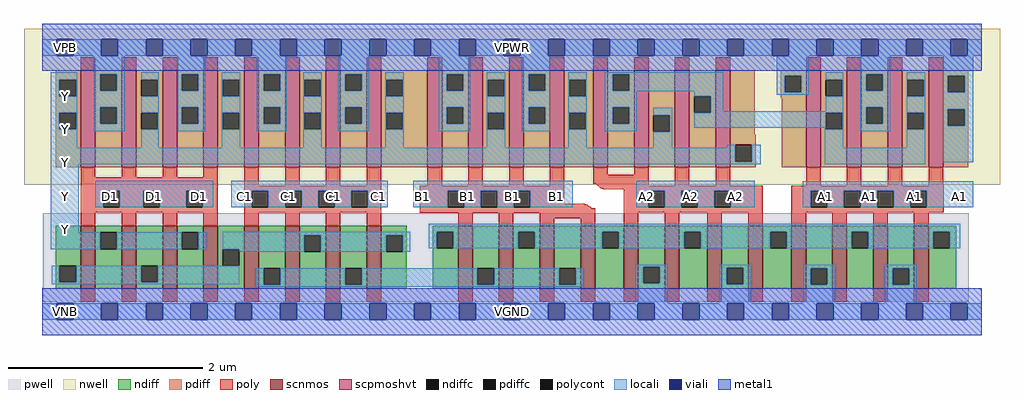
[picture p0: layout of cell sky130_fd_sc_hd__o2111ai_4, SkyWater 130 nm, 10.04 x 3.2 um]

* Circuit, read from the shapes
.subckt sky130_fd_sc_hd__o2111ai_4 A1 A2 B1 C1 D1 VGND VNB VPB VPWR Y
XM1 Y D1 n1 VNB sky130_fd_pr__nfet_01v8 w=0.65 l=0.15 m=4
XM2 n2 C1 n1 VNB sky130_fd_pr__nfet_01v8 w=0.65 l=0.15 m=4
XM3 n2 B1 n3 VNB sky130_fd_pr__nfet_01v8 w=0.65 l=0.15 m=4
XM4 VGND A2 n3 VNB sky130_fd_pr__nfet_01v8 w=0.65 l=0.15 m=4
XM5 VGND A1 n3 VNB sky130_fd_pr__nfet_01v8 w=0.65 l=0.15 m=4
XM6 VPWR D1 Y VPB sky130_fd_pr__pfet_01v8_hvt w=1 l=0.15 m=4
XM7 VPWR C1 Y VPB sky130_fd_pr__pfet_01v8_hvt w=1 l=0.15 m=4
XM8 VPWR B1 Y VPB sky130_fd_pr__pfet_01v8_hvt w=1 l=0.15 m=4
XM9 n4 A2 Y VPB sky130_fd_pr__pfet_01v8_hvt w=1 l=0.15 m=4
XM10 n4 A1 VPWR VPB sky130_fd_pr__pfet_01v8_hvt w=1 l=0.15 m=4
.ends

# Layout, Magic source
magic
tech sky130A
magscale 1 2
<< nwell >>
rect -38 261 1970 582
<< pwell >>
rect 1 21 1906 203
rect 30 -17 64 21
<< scnmos >>
rect 79 47 109 177
rect 163 47 193 177
rect 247 47 277 177
rect 331 47 361 177
rect 415 47 445 177
rect 499 47 529 177
rect 583 47 613 177
rect 667 47 697 177
rect 855 47 885 177
rect 939 47 969 177
rect 1023 47 1053 177
rect 1107 47 1137 177
rect 1196 47 1226 177
rect 1280 47 1310 177
rect 1368 47 1398 177
rect 1452 47 1482 177
rect 1541 47 1571 177
rect 1625 47 1655 177
rect 1709 47 1739 177
rect 1793 47 1823 177
<< scpmoshvt >>
rect 79 297 109 497
rect 163 297 193 497
rect 247 297 277 497
rect 331 297 361 497
rect 415 297 445 497
rect 499 297 529 497
rect 583 297 613 497
rect 667 297 697 497
rect 792 297 822 497
rect 876 297 906 497
rect 960 297 990 497
rect 1044 297 1074 497
rect 1133 297 1163 497
rect 1217 297 1247 497
rect 1301 297 1331 497
rect 1385 297 1415 497
rect 1571 297 1601 497
rect 1655 297 1685 497
rect 1739 297 1769 497
rect 1823 297 1853 497
<< ndiff >>
rect 27 95 79 177
rect 27 61 35 95
rect 69 61 79 95
rect 27 47 79 61
rect 109 163 163 177
rect 109 129 119 163
rect 153 129 163 163
rect 109 47 163 129
rect 193 95 247 177
rect 193 61 203 95
rect 237 61 247 95
rect 193 47 247 61
rect 277 163 331 177
rect 277 129 287 163
rect 321 129 331 163
rect 277 47 331 129
rect 361 129 415 177
rect 361 95 371 129
rect 405 95 415 129
rect 361 47 415 95
rect 445 89 499 177
rect 445 55 455 89
rect 489 55 499 89
rect 445 47 499 55
rect 529 157 583 177
rect 529 123 539 157
rect 573 123 583 157
rect 529 47 583 123
rect 613 89 667 177
rect 613 55 623 89
rect 657 55 667 89
rect 613 47 667 55
rect 697 157 749 177
rect 697 123 707 157
rect 741 123 749 157
rect 697 47 749 123
rect 803 165 855 177
rect 803 131 811 165
rect 845 131 855 165
rect 803 47 855 131
rect 885 89 939 177
rect 885 55 895 89
rect 929 55 939 89
rect 885 47 939 55
rect 969 165 1023 177
rect 969 131 979 165
rect 1013 131 1023 165
rect 969 47 1023 131
rect 1053 89 1107 177
rect 1053 55 1063 89
rect 1097 55 1107 89
rect 1053 47 1107 55
rect 1137 165 1196 177
rect 1137 131 1152 165
rect 1186 131 1196 165
rect 1137 47 1196 131
rect 1226 93 1280 177
rect 1226 59 1236 93
rect 1270 59 1280 93
rect 1226 47 1280 59
rect 1310 165 1368 177
rect 1310 131 1320 165
rect 1354 131 1368 165
rect 1310 47 1368 131
rect 1398 90 1452 177
rect 1398 56 1408 90
rect 1442 56 1452 90
rect 1398 47 1452 56
rect 1482 165 1541 177
rect 1482 131 1497 165
rect 1531 131 1541 165
rect 1482 47 1541 131
rect 1571 89 1625 177
rect 1571 55 1581 89
rect 1615 55 1625 89
rect 1571 47 1625 55
rect 1655 165 1709 177
rect 1655 131 1665 165
rect 1699 131 1709 165
rect 1655 47 1709 131
rect 1739 89 1793 177
rect 1739 55 1749 89
rect 1783 55 1793 89
rect 1739 47 1793 55
rect 1823 165 1880 177
rect 1823 131 1833 165
rect 1867 131 1880 165
rect 1823 47 1880 131
<< pdiff >>
rect 27 477 79 497
rect 27 443 35 477
rect 69 443 79 477
rect 27 409 79 443
rect 27 375 35 409
rect 69 375 79 409
rect 27 297 79 375
rect 109 489 163 497
rect 109 455 119 489
rect 153 455 163 489
rect 109 421 163 455
rect 109 387 119 421
rect 153 387 163 421
rect 109 297 163 387
rect 193 477 247 497
rect 193 443 203 477
rect 237 443 247 477
rect 193 409 247 443
rect 193 375 203 409
rect 237 375 247 409
rect 193 297 247 375
rect 277 489 331 497
rect 277 455 287 489
rect 321 455 331 489
rect 277 421 331 455
rect 277 387 287 421
rect 321 387 331 421
rect 277 297 331 387
rect 361 477 415 497
rect 361 443 371 477
rect 405 443 415 477
rect 361 409 415 443
rect 361 375 371 409
rect 405 375 415 409
rect 361 297 415 375
rect 445 489 499 497
rect 445 455 455 489
rect 489 455 499 489
rect 445 421 499 455
rect 445 387 455 421
rect 489 387 499 421
rect 445 297 499 387
rect 529 477 583 497
rect 529 443 539 477
rect 573 443 583 477
rect 529 409 583 443
rect 529 375 539 409
rect 573 375 583 409
rect 529 297 583 375
rect 613 489 667 497
rect 613 455 623 489
rect 657 455 667 489
rect 613 421 667 455
rect 613 387 623 421
rect 657 387 667 421
rect 613 297 667 387
rect 697 477 792 497
rect 697 443 707 477
rect 741 443 792 477
rect 697 409 792 443
rect 697 375 707 409
rect 741 375 792 409
rect 697 297 792 375
rect 822 489 876 497
rect 822 455 832 489
rect 866 455 876 489
rect 822 421 876 455
rect 822 387 832 421
rect 866 387 876 421
rect 822 297 876 387
rect 906 477 960 497
rect 906 443 916 477
rect 950 443 960 477
rect 906 409 960 443
rect 906 375 916 409
rect 950 375 960 409
rect 906 297 960 375
rect 990 489 1044 497
rect 990 455 1000 489
rect 1034 455 1044 489
rect 990 421 1044 455
rect 990 387 1000 421
rect 1034 387 1044 421
rect 990 297 1044 387
rect 1074 477 1133 497
rect 1074 443 1084 477
rect 1118 443 1133 477
rect 1074 409 1133 443
rect 1074 375 1084 409
rect 1118 375 1133 409
rect 1074 297 1133 375
rect 1163 489 1217 497
rect 1163 455 1173 489
rect 1207 455 1217 489
rect 1163 421 1217 455
rect 1163 387 1173 421
rect 1207 387 1217 421
rect 1163 297 1217 387
rect 1247 404 1301 497
rect 1247 370 1257 404
rect 1291 370 1301 404
rect 1247 297 1301 370
rect 1331 443 1385 497
rect 1331 409 1341 443
rect 1375 409 1385 443
rect 1331 297 1385 409
rect 1415 364 1465 497
rect 1519 485 1571 497
rect 1519 451 1527 485
rect 1561 451 1571 485
rect 1519 440 1571 451
rect 1415 343 1467 364
rect 1415 309 1425 343
rect 1459 309 1467 343
rect 1415 297 1467 309
rect 1521 297 1571 440
rect 1601 477 1655 497
rect 1601 443 1611 477
rect 1645 443 1655 477
rect 1601 409 1655 443
rect 1601 375 1611 409
rect 1645 375 1655 409
rect 1601 297 1655 375
rect 1685 489 1739 497
rect 1685 455 1695 489
rect 1729 455 1739 489
rect 1685 421 1739 455
rect 1685 387 1695 421
rect 1729 387 1739 421
rect 1685 297 1739 387
rect 1769 477 1823 497
rect 1769 443 1779 477
rect 1813 443 1823 477
rect 1769 409 1823 443
rect 1769 375 1779 409
rect 1813 375 1823 409
rect 1769 297 1823 375
rect 1853 485 1905 497
rect 1853 451 1863 485
rect 1897 451 1905 485
rect 1853 417 1905 451
rect 1853 383 1863 417
rect 1897 383 1905 417
rect 1853 297 1905 383
<< ndiffc >>
rect 35 61 69 95
rect 119 129 153 163
rect 203 61 237 95
rect 287 129 321 163
rect 371 95 405 129
rect 455 55 489 89
rect 539 123 573 157
rect 623 55 657 89
rect 707 123 741 157
rect 811 131 845 165
rect 895 55 929 89
rect 979 131 1013 165
rect 1063 55 1097 89
rect 1152 131 1186 165
rect 1236 59 1270 93
rect 1320 131 1354 165
rect 1408 56 1442 90
rect 1497 131 1531 165
rect 1581 55 1615 89
rect 1665 131 1699 165
rect 1749 55 1783 89
rect 1833 131 1867 165
<< pdiffc >>
rect 35 443 69 477
rect 35 375 69 409
rect 119 455 153 489
rect 119 387 153 421
rect 203 443 237 477
rect 203 375 237 409
rect 287 455 321 489
rect 287 387 321 421
rect 371 443 405 477
rect 371 375 405 409
rect 455 455 489 489
rect 455 387 489 421
rect 539 443 573 477
rect 539 375 573 409
rect 623 455 657 489
rect 623 387 657 421
rect 707 443 741 477
rect 707 375 741 409
rect 832 455 866 489
rect 832 387 866 421
rect 916 443 950 477
rect 916 375 950 409
rect 1000 455 1034 489
rect 1000 387 1034 421
rect 1084 443 1118 477
rect 1084 375 1118 409
rect 1173 455 1207 489
rect 1173 387 1207 421
rect 1257 370 1291 404
rect 1341 409 1375 443
rect 1527 451 1561 485
rect 1425 309 1459 343
rect 1611 443 1645 477
rect 1611 375 1645 409
rect 1695 455 1729 489
rect 1695 387 1729 421
rect 1779 443 1813 477
rect 1779 375 1813 409
rect 1863 451 1897 485
rect 1863 383 1897 417
<< poly >>
rect 79 497 109 523
rect 163 497 193 523
rect 247 497 277 523
rect 331 497 361 523
rect 415 497 445 523
rect 499 497 529 523
rect 583 497 613 523
rect 667 497 697 523
rect 792 497 822 523
rect 876 497 906 523
rect 960 497 990 523
rect 1044 497 1074 523
rect 1133 497 1163 523
rect 1217 497 1247 523
rect 1301 497 1331 523
rect 1385 497 1415 523
rect 1571 497 1601 523
rect 1655 497 1685 523
rect 1739 497 1769 523
rect 1823 497 1853 523
rect 79 277 109 297
rect 163 277 193 297
rect 247 277 277 297
rect 331 277 361 297
rect 79 249 361 277
rect 79 215 125 249
rect 159 215 207 249
rect 241 215 296 249
rect 330 215 361 249
rect 79 205 361 215
rect 79 177 109 205
rect 163 177 193 205
rect 247 177 277 205
rect 331 177 361 205
rect 415 259 445 297
rect 499 259 529 297
rect 583 259 613 297
rect 667 259 697 297
rect 792 259 822 297
rect 876 259 906 297
rect 960 259 990 297
rect 1044 259 1074 297
rect 1133 282 1163 297
rect 1217 282 1247 297
rect 1133 263 1247 282
rect 1139 262 1247 263
rect 1140 261 1247 262
rect 1141 260 1247 261
rect 1142 259 1247 260
rect 1301 259 1331 297
rect 1385 259 1415 297
rect 1571 259 1601 297
rect 1655 259 1685 297
rect 1739 259 1769 297
rect 1823 259 1853 297
rect 415 249 697 259
rect 415 215 431 249
rect 465 215 499 249
rect 533 215 567 249
rect 601 215 635 249
rect 669 215 697 249
rect 415 205 697 215
rect 415 177 445 205
rect 499 177 529 205
rect 583 177 613 205
rect 667 177 697 205
rect 776 249 1074 259
rect 1143 258 1482 259
rect 1145 257 1482 258
rect 1146 256 1482 257
rect 1148 255 1482 256
rect 1149 254 1482 255
rect 1152 253 1482 254
rect 1155 252 1482 253
rect 776 215 834 249
rect 868 215 902 249
rect 936 215 970 249
rect 1004 222 1074 249
rect 1196 249 1482 252
rect 1004 221 1115 222
rect 1004 220 1118 221
rect 1004 219 1121 220
rect 1004 218 1122 219
rect 1004 217 1124 218
rect 1004 216 1125 217
rect 1004 215 1127 216
rect 1196 215 1246 249
rect 1280 215 1314 249
rect 1348 215 1382 249
rect 1416 215 1482 249
rect 776 214 1128 215
rect 776 213 1129 214
rect 776 204 1137 213
rect 855 177 885 204
rect 939 177 969 204
rect 1023 192 1137 204
rect 1023 177 1053 192
rect 1107 177 1137 192
rect 1196 205 1482 215
rect 1196 177 1226 205
rect 1280 177 1310 205
rect 1368 177 1398 205
rect 1452 177 1482 205
rect 1541 249 1854 259
rect 1541 215 1581 249
rect 1615 215 1649 249
rect 1683 215 1717 249
rect 1751 215 1785 249
rect 1819 215 1854 249
rect 1541 205 1854 215
rect 1541 177 1571 205
rect 1625 177 1655 205
rect 1709 177 1739 205
rect 1793 177 1823 205
rect 79 21 109 47
rect 163 21 193 47
rect 247 21 277 47
rect 331 21 361 47
rect 415 21 445 47
rect 499 21 529 47
rect 583 21 613 47
rect 667 21 697 47
rect 855 21 885 47
rect 939 21 969 47
rect 1023 21 1053 47
rect 1107 21 1137 47
rect 1196 21 1226 47
rect 1280 21 1310 47
rect 1368 21 1398 47
rect 1452 21 1482 47
rect 1541 21 1571 47
rect 1625 21 1655 47
rect 1709 21 1739 47
rect 1793 21 1823 47
<< polycont >>
rect 125 215 159 249
rect 207 215 241 249
rect 296 215 330 249
rect 431 215 465 249
rect 499 215 533 249
rect 567 215 601 249
rect 635 215 669 249
rect 834 215 868 249
rect 902 215 936 249
rect 970 215 1004 249
rect 1246 215 1280 249
rect 1314 215 1348 249
rect 1382 215 1416 249
rect 1581 215 1615 249
rect 1649 215 1683 249
rect 1717 215 1751 249
rect 1785 215 1819 249
<< locali >>
rect 0 527 29 561
rect 63 527 121 561
rect 155 527 213 561
rect 247 527 305 561
rect 339 527 397 561
rect 431 527 489 561
rect 523 527 581 561
rect 615 527 673 561
rect 707 527 765 561
rect 799 527 857 561
rect 891 527 949 561
rect 983 527 1041 561
rect 1075 527 1133 561
rect 1167 527 1225 561
rect 1259 527 1317 561
rect 1351 527 1409 561
rect 1443 527 1501 561
rect 1535 527 1593 561
rect 1627 527 1685 561
rect 1719 527 1777 561
rect 1811 527 1869 561
rect 1903 527 1932 561
rect 17 477 72 493
rect 17 443 35 477
rect 69 443 72 477
rect 17 409 72 443
rect 17 375 35 409
rect 69 375 72 409
rect 17 337 72 375
rect 106 489 169 527
rect 106 455 119 489
rect 153 455 169 489
rect 106 421 169 455
rect 106 387 119 421
rect 153 387 169 421
rect 106 371 169 387
rect 203 477 239 493
rect 237 443 239 477
rect 203 409 239 443
rect 237 375 239 409
rect 203 337 239 375
rect 278 489 335 527
rect 278 455 287 489
rect 321 455 335 489
rect 278 421 335 455
rect 278 387 287 421
rect 321 387 335 421
rect 278 371 335 387
rect 369 477 407 493
rect 369 443 371 477
rect 405 443 407 477
rect 369 409 407 443
rect 369 375 371 409
rect 405 375 407 409
rect 369 337 407 375
rect 441 489 503 527
rect 441 455 455 489
rect 489 455 503 489
rect 441 421 503 455
rect 441 387 455 421
rect 489 387 503 421
rect 441 371 503 387
rect 537 477 575 493
rect 537 443 539 477
rect 573 443 575 477
rect 537 409 575 443
rect 537 375 539 409
rect 573 375 575 409
rect 537 337 575 375
rect 609 489 671 527
rect 609 455 623 489
rect 657 455 671 489
rect 609 421 671 455
rect 609 387 623 421
rect 657 387 671 421
rect 609 371 671 387
rect 705 477 743 493
rect 705 443 707 477
rect 741 443 743 477
rect 705 409 743 443
rect 705 375 707 409
rect 741 375 743 409
rect 705 337 743 375
rect 815 489 880 527
rect 815 455 832 489
rect 866 455 880 489
rect 815 421 880 455
rect 815 387 832 421
rect 866 387 880 421
rect 815 371 880 387
rect 914 477 952 493
rect 914 443 916 477
rect 950 443 952 477
rect 914 409 952 443
rect 914 375 916 409
rect 950 375 952 409
rect 914 337 952 375
rect 986 489 1044 527
rect 986 455 1000 489
rect 1034 455 1044 489
rect 986 421 1044 455
rect 986 387 1000 421
rect 1034 387 1044 421
rect 986 371 1044 387
rect 1082 477 1120 493
rect 1082 443 1084 477
rect 1118 443 1120 477
rect 1082 409 1120 443
rect 1082 375 1084 409
rect 1118 375 1120 409
rect 1082 337 1120 375
rect 1157 489 1401 493
rect 1157 455 1173 489
rect 1207 455 1401 489
rect 1157 454 1401 455
rect 1157 421 1223 454
rect 1157 387 1173 421
rect 1207 387 1223 421
rect 1341 443 1401 454
rect 1511 485 1577 527
rect 1511 451 1527 485
rect 1561 451 1577 485
rect 1511 446 1577 451
rect 1611 477 1647 493
rect 1157 371 1223 387
rect 1257 404 1296 420
rect 1291 370 1296 404
rect 1375 412 1401 443
rect 1645 443 1647 477
rect 1611 412 1647 443
rect 1375 409 1647 412
rect 1341 378 1611 409
rect 1257 337 1296 370
rect 1609 375 1611 378
rect 1645 375 1647 409
rect 1409 343 1478 344
rect 1409 337 1425 343
rect 17 309 1425 337
rect 1459 309 1478 343
rect 17 303 1478 309
rect 1609 337 1647 375
rect 1682 489 1744 527
rect 1682 455 1695 489
rect 1729 455 1744 489
rect 1682 421 1744 455
rect 1682 387 1695 421
rect 1729 387 1744 421
rect 1682 371 1744 387
rect 1778 477 1816 493
rect 1778 443 1779 477
rect 1813 443 1816 477
rect 1778 409 1816 443
rect 1778 375 1779 409
rect 1813 375 1816 409
rect 1778 337 1816 375
rect 1609 303 1816 337
rect 1853 485 1915 527
rect 1853 451 1863 485
rect 1897 451 1915 485
rect 1853 417 1915 451
rect 1853 383 1863 417
rect 1897 383 1915 417
rect 1853 307 1915 383
rect 17 163 75 303
rect 109 249 351 269
rect 109 215 125 249
rect 159 215 207 249
rect 241 215 296 249
rect 330 215 351 249
rect 388 249 710 269
rect 388 215 431 249
rect 465 215 499 249
rect 533 215 567 249
rect 601 215 635 249
rect 669 215 710 249
rect 763 249 1091 269
rect 763 215 834 249
rect 868 215 902 249
rect 936 215 970 249
rect 1004 215 1091 249
rect 1222 249 1465 269
rect 1222 215 1246 249
rect 1280 215 1314 249
rect 1348 215 1382 249
rect 1416 215 1465 249
rect 1564 249 1915 268
rect 1564 215 1581 249
rect 1615 215 1649 249
rect 1683 215 1717 249
rect 1751 215 1785 249
rect 1819 215 1915 249
rect 795 165 1888 181
rect 17 129 119 163
rect 153 129 287 163
rect 321 129 337 163
rect 371 157 757 165
rect 371 129 539 157
rect 405 123 539 129
rect 573 123 707 157
rect 741 123 757 157
rect 795 131 811 165
rect 845 131 979 165
rect 1013 131 1152 165
rect 1186 131 1320 165
rect 1354 131 1497 165
rect 1531 131 1665 165
rect 1699 131 1833 165
rect 1867 131 1888 165
rect 19 61 35 95
rect 69 61 203 95
rect 237 61 405 95
rect 1220 93 1286 97
rect 19 57 405 61
rect 439 55 455 89
rect 489 55 623 89
rect 657 55 895 89
rect 929 55 1063 89
rect 1097 55 1113 89
rect 439 51 1113 55
rect 1220 59 1236 93
rect 1270 59 1286 93
rect 1220 17 1286 59
rect 1392 90 1458 97
rect 1392 56 1408 90
rect 1442 56 1458 90
rect 1392 17 1458 56
rect 1565 89 1631 97
rect 1565 55 1581 89
rect 1615 55 1631 89
rect 1565 17 1631 55
rect 1733 89 1799 97
rect 1733 55 1749 89
rect 1783 55 1799 89
rect 1733 17 1799 55
rect 0 -17 29 17
rect 63 -17 121 17
rect 155 -17 213 17
rect 247 -17 305 17
rect 339 -17 397 17
rect 431 -17 489 17
rect 523 -17 581 17
rect 615 -17 673 17
rect 707 -17 765 17
rect 799 -17 857 17
rect 891 -17 949 17
rect 983 -17 1041 17
rect 1075 -17 1133 17
rect 1167 -17 1225 17
rect 1259 -17 1317 17
rect 1351 -17 1409 17
rect 1443 -17 1501 17
rect 1535 -17 1593 17
rect 1627 -17 1685 17
rect 1719 -17 1777 17
rect 1811 -17 1869 17
rect 1903 -17 1932 17
<< viali >>
rect 29 527 63 561
rect 121 527 155 561
rect 213 527 247 561
rect 305 527 339 561
rect 397 527 431 561
rect 489 527 523 561
rect 581 527 615 561
rect 673 527 707 561
rect 765 527 799 561
rect 857 527 891 561
rect 949 527 983 561
rect 1041 527 1075 561
rect 1133 527 1167 561
rect 1225 527 1259 561
rect 1317 527 1351 561
rect 1409 527 1443 561
rect 1501 527 1535 561
rect 1593 527 1627 561
rect 1685 527 1719 561
rect 1777 527 1811 561
rect 1869 527 1903 561
rect 29 -17 63 17
rect 121 -17 155 17
rect 213 -17 247 17
rect 305 -17 339 17
rect 397 -17 431 17
rect 489 -17 523 17
rect 581 -17 615 17
rect 673 -17 707 17
rect 765 -17 799 17
rect 857 -17 891 17
rect 949 -17 983 17
rect 1041 -17 1075 17
rect 1133 -17 1167 17
rect 1225 -17 1259 17
rect 1317 -17 1351 17
rect 1409 -17 1443 17
rect 1501 -17 1535 17
rect 1593 -17 1627 17
rect 1685 -17 1719 17
rect 1777 -17 1811 17
rect 1869 -17 1903 17
<< metal1 >>
rect 0 561 1932 592
rect 0 527 29 561
rect 63 527 121 561
rect 155 527 213 561
rect 247 527 305 561
rect 339 527 397 561
rect 431 527 489 561
rect 523 527 581 561
rect 615 527 673 561
rect 707 527 765 561
rect 799 527 857 561
rect 891 527 949 561
rect 983 527 1041 561
rect 1075 527 1133 561
rect 1167 527 1225 561
rect 1259 527 1317 561
rect 1351 527 1409 561
rect 1443 527 1501 561
rect 1535 527 1593 561
rect 1627 527 1685 561
rect 1719 527 1777 561
rect 1811 527 1869 561
rect 1903 527 1932 561
rect 0 496 1932 527
rect 0 17 1932 48
rect 0 -17 29 17
rect 63 -17 121 17
rect 155 -17 213 17
rect 247 -17 305 17
rect 339 -17 397 17
rect 431 -17 489 17
rect 523 -17 581 17
rect 615 -17 673 17
rect 707 -17 765 17
rect 799 -17 857 17
rect 891 -17 949 17
rect 983 -17 1041 17
rect 1075 -17 1133 17
rect 1167 -17 1225 17
rect 1259 -17 1317 17
rect 1351 -17 1409 17
rect 1443 -17 1501 17
rect 1535 -17 1593 17
rect 1627 -17 1685 17
rect 1719 -17 1777 17
rect 1811 -17 1869 17
rect 1903 -17 1932 17
rect 0 -48 1932 -17
<< labels >>
flabel locali s 1869 221 1903 255 0 FreeSans 400 0 0 0 A1
port 1 nsew signal input
flabel locali s 1777 221 1811 255 0 FreeSans 400 0 0 0 A1
port 1 nsew signal input
flabel locali s 1685 221 1719 255 0 FreeSans 400 0 0 0 A1
port 1 nsew signal input
flabel locali s 1593 221 1627 255 0 FreeSans 400 0 0 0 A1
port 1 nsew signal input
flabel locali s 1409 221 1443 255 0 FreeSans 400 0 0 0 A2
port 2 nsew signal input
flabel locali s 1317 221 1351 255 0 FreeSans 400 0 0 0 A2
port 2 nsew signal input
flabel locali s 1225 221 1259 255 0 FreeSans 400 0 0 0 A2
port 2 nsew signal input
flabel locali s 1041 221 1075 255 0 FreeSans 400 0 0 0 B1
port 3 nsew signal input
flabel locali s 949 221 983 255 0 FreeSans 400 0 0 0 B1
port 3 nsew signal input
flabel locali s 857 221 891 255 0 FreeSans 400 0 0 0 B1
port 3 nsew signal input
flabel locali s 765 221 799 255 0 FreeSans 400 0 0 0 B1
port 3 nsew signal input
flabel locali s 674 221 708 255 0 FreeSans 400 0 0 0 C1
port 4 nsew signal input
flabel locali s 582 221 616 255 0 FreeSans 400 0 0 0 C1
port 4 nsew signal input
flabel locali s 490 221 524 255 0 FreeSans 400 0 0 0 C1
port 4 nsew signal input
flabel locali s 398 221 432 255 0 FreeSans 400 0 0 0 C1
port 4 nsew signal input
flabel locali s 306 221 340 255 0 FreeSans 400 0 0 0 D1
port 5 nsew signal input
flabel locali s 214 221 248 255 0 FreeSans 400 0 0 0 D1
port 5 nsew signal input
flabel locali s 30 289 64 323 0 FreeSans 400 0 0 0 Y
port 10 nsew signal output
flabel locali s 30 153 64 187 0 FreeSans 400 0 0 0 Y
port 10 nsew signal output
flabel locali s 122 221 156 255 0 FreeSans 400 0 0 0 D1
port 5 nsew signal input
flabel locali s 30 425 64 459 0 FreeSans 400 0 0 0 Y
port 10 nsew signal output
flabel locali s 30 357 64 391 0 FreeSans 400 0 0 0 Y
port 10 nsew signal output
flabel locali s 30 221 64 255 0 FreeSans 400 0 0 0 Y
port 10 nsew signal output
flabel pwell s 30 -17 64 17 0 FreeSans 200 0 0 0 VNB
port 7 nsew ground bidirectional
flabel nwell s 30 527 64 561 0 FreeSans 200 0 0 0 VPB
port 8 nsew power bidirectional
flabel metal1 s 30 -17 64 17 0 FreeSans 200 0 0 0 VGND
port 6 nsew ground bidirectional abutment
flabel metal1 s 30 527 64 561 0 FreeSans 200 0 0 0 VPWR
port 9 nsew power bidirectional abutment
rlabel comment s 0 0 0 0 4 o2111ai_4
rlabel metal1 s 0 -48 1932 48 1 VGND
port 6 nsew ground bidirectional abutment
rlabel metal1 s 0 496 1932 592 1 VPWR
port 9 nsew power bidirectional abutment
<< properties >>
string FIXED_BBOX 0 0 1932 544
string GDS_END 976088
string GDS_FILE $PDKPATH/libs.ref/sky130_fd_sc_hd/gds/sky130_fd_sc_hd.gds
string GDS_START 960678
string LEFclass CORE
string LEFsite unithd
string LEFsymmetry X Y R90
string path 0.000 2.720 9.660 2.720 
<< end >>
